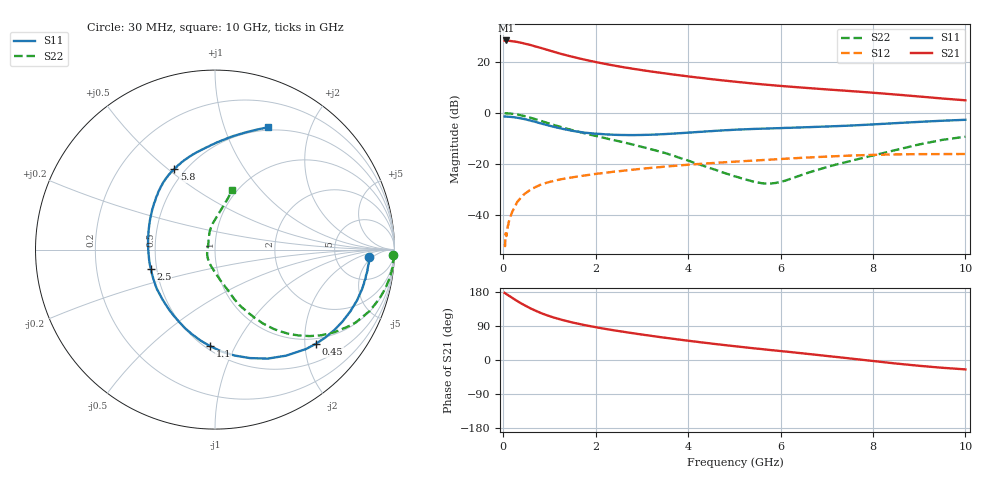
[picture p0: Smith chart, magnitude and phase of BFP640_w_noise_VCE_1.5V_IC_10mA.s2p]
! Infineon Technologies  Discrete & RF Semiconductors
! BFP640
! VCE =  1.5 V,  IC =  10 mA
! Common Emitter S-Parameters:  Apr 2013
# GHz  S  MA  R  50
!  f  S11  S21  S12  S22
! GHz  MAG  ANG  MAG  ANG  MAG  ANG  MAG  ANG
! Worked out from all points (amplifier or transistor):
!   99 points, 30 MHz to 10 GHz, reference 50 ohm
!   highest |S21| = 28.7 dB at 60 MHz (marker M1)
!   |S21| within 3 dB of that: start of sweep to 823.6 MHz
!   unconditionally stable (mu >= 1): 3.879 GHz to end of sweep
!   at 350 MHz: K = 0.15, MSG = 30.9 dB, |S12| = -34.0 dB
!   at 3.5 GHz: K = 0.97, MSG = 18.4 dB, |S12| = -21.0 dB
!   at 10 GHz: K = 1.10, MAG = 8.7 dB, |S12| = -16.1 dB
!   lowest NFmin = 0.64 dB at 450 MHz
!   S11 on the Smith chart (normalised r, x): 30 MHz: 12, -4; 450 MHz: 0.88, -2.25; 1.1 GHz: 0.53, -0.80; 2.5 GHz: 0.46, -0.11; 5.8 GHz: 0.44, +0.53; 10 GHz: 0.47, +1.42
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0.03  0.8596 -2.8  26.91 177.1  0.0026 100.5  0.9946 -1.6
0.06  0.8583 -5.9  27.17 174.6  0.0042 94.2  0.9957 -3.6
0.12  0.8507 -12.0  26.9 169.8  0.0073 88.1  0.989 -7.6
0.25  0.8287 -24.6  25.86 159.6  0.0141 78.1  0.9592 -15.9
0.35  0.8018 -34.0  24.82 152.2  0.02 73.8  0.9256 -21.8
0.45  0.7692 -43.0  23.7 145.3  0.0252 69.5  0.8842 -27.2
0.6  0.7112 -56.2  21.97 135.6  0.0316 63.7  0.8103 -34.6
0.7  0.6746 -64.2  20.66 130.1  0.0351 60.7  0.7615 -38.8
0.8  0.6348 -72.2  19.51 124.7  0.0387 57.7  0.7147 -42.4
0.9  0.6004 -79.5  18.35 120.0  0.0416 55.4  0.6669 -45.8
1.1  0.5383 -93.0  16.21 111.8  0.0465 51.4  0.5855 -51.2
1.4  0.4693 -110.7  13.62 101.9  0.0527 47.2  0.4892 -57.1
1.7  0.4222 -127.0  11.71 93.7  0.0582 44.4  0.4149 -61.1
2.1  0.3907 -146.3  9.785 84.4  0.0653 41.5  0.3397 -66.1
2.5  0.3735 -163.6  8.379 76.3  0.0719 38.6  0.2809 -69.5
3.4  0.3845 164.2  6.272 60.4  0.0869 32.6  0.1739 -80.1
4.2  0.4265 142.7  5.058 47.9  0.0995 26.9  0.1011 -100.0
5.1  0.4767 126.1  4.109 35.2  0.1122 20.6  0.0542 -142.7
5.8  0.5024 116.8  3.578 26.1  0.1221 15.9  0.0413 163.7
6.7  0.5355 105.9  3.089 14.7  0.1356 8.7  0.0718 118.5
8.5  0.6383 81.3  2.333 -9.3  0.1546 -7.8  0.189 86.0
10  0.7424 66.6  1.798 -24.8  0.1571 -18.7  0.3447 74.2
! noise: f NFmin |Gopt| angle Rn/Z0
0.45  0.64  0.26  10  0.04
0.9  0.66  0.25  17  0.05
1.5  0.67  0.22  29  0.06
1.9  0.7  0.18  48  0.07
2.4  0.74  0.16  59  0.07
3.5  0.87  0.13  71  0.09
5.5  1.09  0.21  -128  0.1
10  1.66  0.58  -60  0.4
